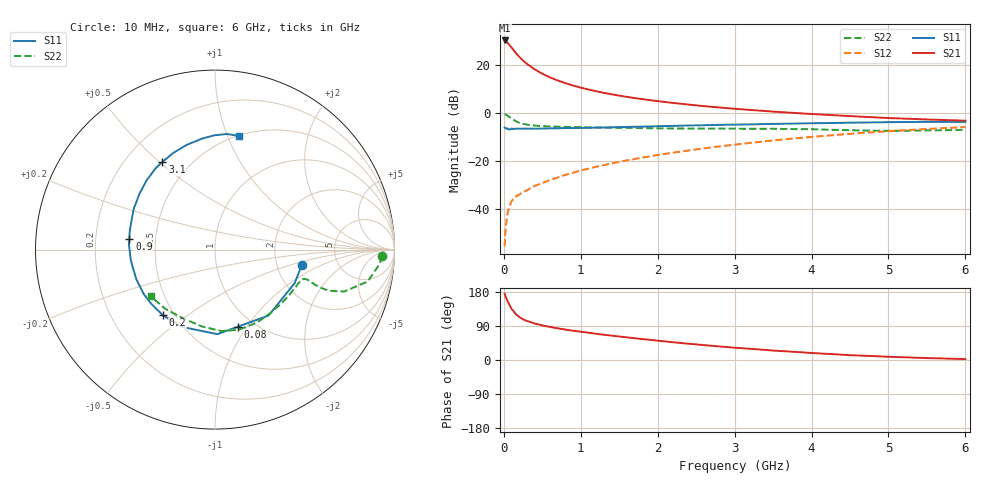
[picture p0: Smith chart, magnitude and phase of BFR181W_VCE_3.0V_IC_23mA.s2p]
! Infineon Technologies  Discrete & RF Semiconductors
! BFR181W
! VCE =  3.0 V,  IC =  23 mA
! Common Emitter S-Parameters:  Jan 2017
# GHz  S  MA  R  50
!  f  S11  S21  S12  S22
! GHz  MAG  ANG  MAG  ANG  MAG  ANG  MAG  ANG
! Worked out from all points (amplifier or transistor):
!   77 points, 10 MHz to 6 GHz, reference 50 ohm
!   highest |S21| = 30.0 dB at 10 MHz (marker M1)
!   |S21| within 3 dB of that: start of sweep to 102.1 MHz
!   unconditionally stable (mu >= 1): 362.8 MHz to 2.676 GHz
!   at 130 MHz: K = 0.56, MSG = 30.8 dB, |S12| = -35.7 dB
!   at 2.2 GHz: K = 1.08, MAG = 8.6 dB, |S12| = -16.6 dB
!   at 6 GHz: K = 0.93, MSG = 1.3 dB, |S12| = -6.0 dB
!   S11 on the Smith chart (normalised r, x): 10 MHz: 2.77, -0.63; 80 MHz: 0.84, -0.91; 200 MHz: 0.43, -0.41; 900 MHz: 0.35, +0.05; 3.1 GHz: 0.35, +0.51; 6 GHz: 0.50, +1.10
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0.01  0.4912 -10.1  31.58 175.0  0.0017 89.0  0.9289 -2.2
0.02  0.4817 -22.8  30.89 168.8  0.0033 89.6  0.9228 -4.8
0.05  0.4733 -50.9  28.33 153.8  0.0084 72.8  0.869 -11.8
0.08  0.4481 -73.5  24.53 143.2  0.012 66.2  0.8003 -15.3
0.1  0.4713 -88.4  22.58 134.4  0.0145 63.6  0.7565 -18.0
0.15  0.468 -112.9  17.86 122.1  0.0179 59.7  0.6738 -19.9
0.2  0.4671 -128.4  14.44 113.5  0.02 58.9  0.6207 -19.8
0.25  0.4661 -139.7  12.06 107.4  0.0226 58.0  0.5885 -19.3
0.3  0.4679 -148.0  10.29 102.9  0.0245 59.5  0.5655 -18.7
0.4  0.4683 -159.4  7.944 96.2  0.0302 63.6  0.5406 -18.0
0.5  0.4686 -167.4  6.428 91.3  0.0347 66.2  0.527 -18.1
0.6  0.4732 -173.7  5.408 87.2  0.0402 68.4  0.5183 -18.4
0.7  0.4746 -178.5  4.662 83.6  0.0451 71.3  0.5121 -19.0
0.9  0.4804 173.1  3.662 77.3  0.0568 73.8  0.5036 -21.2
1.1  0.4872 166.2  3.033 72.0  0.069 76.2  0.498 -23.7
1.3  0.4931 160.2  2.583 66.7  0.0815 76.8  0.4921 -26.8
1.5  0.5029 155.0  2.262 62.1  0.0951 77.6  0.4864 -30.2
2.1  0.5279 140.7  1.666 49.0  0.1403 76.9  0.4727 -42.2
3.1  0.5693 121.0  1.175 31.1  0.2266 71.1  0.465 -64.9
4.1  0.607 103.4  0.921 17.4  0.3243 61.6  0.4491 -88.1
5.1  0.6382 89.2  0.765 7.9  0.4221 50.0  0.4215 -117.8
6  0.6475 78.0  0.684 2.4  0.5037 38.8  0.443 -144.0
